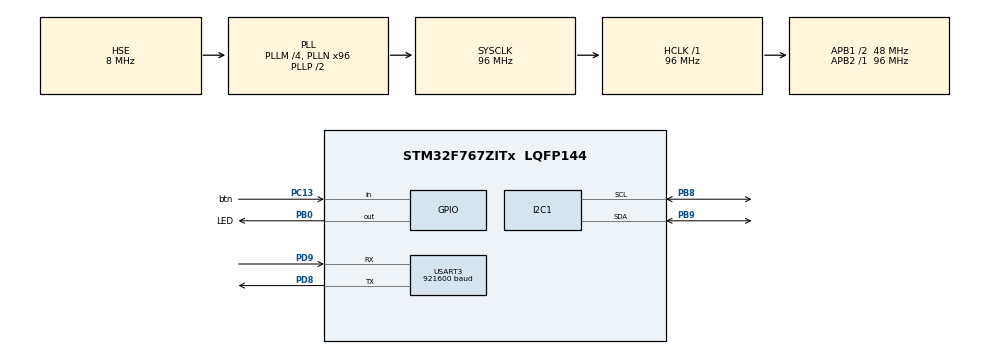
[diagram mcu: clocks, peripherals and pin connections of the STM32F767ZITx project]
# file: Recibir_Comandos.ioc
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I2C1.I2C_Fall_Time=100
I2C1.I2C_Rise_Time=100
I2C1.Timing=0x10805D88
Mcu.Family=STM32F7
Mcu.Name=STM32F767ZITx
Mcu.Package=LQFP144
NVIC.PriorityGroup=NVIC_PRIORITYGROUP_4
NVIC.USART3_IRQn=true\:0\:0\:false\:false\:true\:true\:true\:true
PB0.GPIO_Label=LED
PB0.Signal=GPIO_Output
PB8.Mode=I2C
PB8.Signal=I2C1_SCL
PB9.Mode=I2C
PB9.Signal=I2C1_SDA
PC13.GPIO_Label=btn
PC13.GPIO_PuPd=GPIO_PULLDOWN
PC13.Signal=GPIO_Input
PD8.Mode=Asynchronous
PD8.Signal=USART3_TX
PD9.Mode=Asynchronous
PD9.Signal=USART3_RX
PH0/OSC_IN.Mode=HSE-External-Oscillator
PH0/OSC_IN.Signal=RCC_OSC_IN
PH1/OSC_OUT.Mode=HSE-External-Oscillator
PH1/OSC_OUT.Signal=RCC_OSC_OUT
ProjectManager.HeapSize=0x200
ProjectManager.StackSize=0x400
ProjectManager.TargetToolchain=STM32CubeIDE
RCC.48MHZClocksFreq_Value=24000000
RCC.AHBFreq_Value=96000000
RCC.APB1CLKDivider=RCC_HCLK_DIV2
RCC.APB1Freq_Value=48000000
RCC.APB1TimFreq_Value=96000000
RCC.APB2Freq_Value=96000000
RCC.APB2TimFreq_Value=96000000
RCC.CortexFreq_Value=96000000
RCC.HCLKFreq_Value=96000000
RCC.HSE_VALUE=8000000
RCC.HSI_VALUE=16000000
RCC.LSE_VALUE=32768
RCC.PLLM=4
RCC.PLLMUL=RCC_PLL_MUL9
RCC.PLLN=96
RCC.PLLQ=4
RCC.PLLSourceVirtual=RCC_PLLSOURCE_HSE
RCC.PRESCALERUSB=RCC_USBCLKSOURCE_PLL_DIV1_5
RCC.SYSCLKFreq_VALUE=96000000
RCC.SYSCLKSource=RCC_SYSCLKSOURCE_PLLCLK
RCC.SYSCLKSourceVirtual=RCC_SYSCLKSOURCE_PLLCLK
RCC.USBFreq_Value=48000000
RCC.VCOOutputFreq_Value=192000000
TIM2.Period=5000-1
TIM2.Prescaler=32000-1
USART3.BaudRate=921600
USART3.VirtualMode-Asynchronous=VM_ASYNC
VP_TIM2_VS_ClockSourceINT.Mode=Internal
board=NUCLEO-F767ZI

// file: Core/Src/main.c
/* USER CODE BEGIN Header */

/* USER CODE END Header */
#include "main.h"

/* USER CODE BEGIN Includes */
#include <stdio.h>
#include <string.h>

//Adición de librerías para
// transmisión UART stdio y string

#include <stdlib.h>

// cálculos matemáticos (potencia)
#include <math.h>
// incluir las funciones de printf y scanf
#include "retarget.h"
#include "funciones.h"

	uint8_t tx_int[2]={0};
	uint8_t buf_int[2]={0};
	uint8_t prnt = 0;

/* USER CODE END Includes */

I2C_HandleTypeDef hi2c1;

TIM_HandleTypeDef htim2;

UART_HandleTypeDef huart3;

void SystemClock_Config(void);
static void MX_GPIO_Init(void);
static void MX_USART3_UART_Init(void);
static void MX_TIM2_Init(void);
static void MX_I2C1_Init(void);

/* USER CODE BEGIN 0 */
void Lfsr(void){

				char buf_lfsr[10];
				uint8_t receive[32] = { 0 }; // Arreglo para recibir
				uint8_t seed[32] = { 0 };	//Arreglo semilla
				uint8_t seed_init[32] = { 0 }; //Arreglo semilla inicial
				uint8_t pol[32] = { 0 }; // Almacenar polinomio
				uint8_t aux[32] = { 0 }; // Auxiliar para invertir
				uint8_t xor[32] = { 0 }; // Almacena las xor
				uint8_t buffer_lfsr[16]={0};	//Transmitir
				uint8_t band = 1;		//bandera de ciclo max

				//Mensaje de saludo
				Saludo();

				//Etiqueta para reiniciar

				printf("\n\rNumero de bits termino de realimentacion\n\r");
				scanf("%s", buf_lfsr);
				int numbits = atoi(buf_lfsr);
				printf("\n\rNumero de bits - Decimals: %d\n\r", numbits);

				printf("\n\rIngrese el polinomio de %d bits en binario\n\r", numbits);
				if (!HAL_UART_Receive(&huart3, (uint8_t*) receive, numbits,
						HAL_MAX_DELAY)) {

					for (int i = 0; (i < numbits); i++) {
						pol[i] = (receive[i] - 48);
					}
				}

				///////////

			printf("\n\rIngrese el numero de la semilla de %d bits en binario\n\r",
					numbits);
			if (!HAL_UART_Receive(&huart3, (uint8_t*) receive, numbits, HAL_MAX_DELAY)) {

				//Recibe una semilla del tamaño de bits anteriormente especificado en binario
				for (int i = 0; (i < numbits); i++) {
					seed[i] = (receive[i] - 48);
					seed_init[i] = seed[i];
				}
				band = 1;
				//Convertir de arreglo a byte
				uint64_t usr = 0;
				for (int i = 0; (i < numbits); i++) {
					usr = usr + pow(2, ((numbits - 1) - i)) * seed_init[i];
				}

				uint64_t taps = 0;
				for (int i = 0; (i < numbits); i++) {
					taps = taps + pow(2, (numbits-1)-i) * pol[(numbits-1)-i];
				}

				HAL_UART_Receive_IT(&huart3, tx_int, 1);

				printf("\n\r\n\r***************************************************************");
				printf("\n\r\t*\t RESUMEN INICIAL DE LA SECUENCIA \t*\n\r");
				printf("***************************************************************");
				printf("\n\rNumero de bits termino de realimentacion: %d \n\r",numbits);
				printf("Funcion de realimentacion: BIN ");

				printf("\n\rNumero de bits termino de realimentacion: %d \n\r",numbits);
				printf("Funcion de realimentacion; ");
				itoa(taps, (char*) buffer_lfsr, 2);
				printf("%s", buffer_lfsr);
				printf(" - ");
				itoa(taps, (char*) buffer_lfsr, 16);
				printf("%s", buffer_lfsr);

				printf("\n\rValor inicial - Semilla : ");
				itoa(usr, (char*) buffer_lfsr, 2);
				printf("%s", buffer_lfsr);
				printf(" - ");
				itoa(usr, (char*) buffer_lfsr, 16);
				printf("%s", buffer_lfsr);

				uint64_t a = pow(2,numbits)-1;
				printf("\n\rTotal de numeros esperados en la secuencia: %llu ", a);
				printf("\r\n");

			}

			printf("\n\r");
			//////////////////////////////////////////////////////
			//Invertir el polinomio de acuerdo con los parámetros establecidos
				for (int w = 0; w < numbits; w++) {
					aux[w] = pol[numbits - 1 - w];
				}

				for (int w = 0; w < numbits; w++) {
					pol[w] = aux[w];
				}

			uint64_t k = 0;
			while (k < pow(2, numbits)) {

				for (int i = 0; (i < numbits); i++) {
					if (pol[i] == 1) {
						xor[i] = seed[i];
					} else {
						xor[i] = 0;
					}
				}
				////////////////////////////////////////////////////////

				/////////////////////////////////////////////////////////////////////////////////
				//Determinar cuantos 1's tiene
				uint64_t res = 0;
				for (int i = 0; (i < numbits); i++) {
					res = res + xor[i];
				}
				///////////////////////////////////////////////////////////////////////////////////

				// Función utilizada en DEBUGG
				// HAL_UART_Transmit(&huart3, &res, sizeof(res), HAL_MAX_DELAY);//envia el valor de la suma para determinar valor XOR

				////////DETERMINAMOS SI ES PAR O IMPAR////////////////////////////////

				if (res % 2 == 0) {
					res = 0;
				} else {
					res = 1;
				}
				///////////////////////////////////////////////
				// HAL_UART_Transmit(&huart3, &res, sizeof(res), HAL_MAX_DELAY);

				///mover y poner el valor xor en la cabeza
				for (int i = numbits - 1; i > 0; i--) {
					seed[i] = seed[i - 1];
				}

				seed[0] = res;

				uint64_t usr = 0;
				for (int i = 0; (i < numbits); i++) {
					usr = usr + pow(2, ((numbits - 1) - i)) * seed[i];
				}
				// Línea equivalente al anterior ciclo pero con tamaño de 4 bits
				//int usr = 16 * seed[0] + 8 * seed[1] + 4 * seed[2] + 2 * seed[3] + seed[4];

				if(prnt == 1){
				itoa(usr, (char*) buffer_lfsr, 16);
				printf("\n\r%s", buffer_lfsr);
				}

				if(buf_int[0] == 0x1b){
					printf("\n\r\n\r***************************************************************");
					printf("\n\r\t*\t DETENER LA SECUENCIA POR EL USUARIO\t*\n\r");
					printf("***************************************************************");
					HAL_GPIO_WritePin(LED_GPIO_Port, LED_Pin, GPIO_PIN_RESET);
					goto last;
				}

				if(buf_int[0] != 0x1b){
					HAL_UART_Receive_IT(&huart3, tx_int, 1);
				}

				if (band == 1) {
					band = 2;
				} else {
					band = 0;
					for (int i = 0; i < numbits; i++) {
						if (seed[i] != seed_init[i]) {
							band = 2;
						}
					}
				}

				if (band == 0) {
					if (k == pow(2, numbits) - 2) {
						printf("\n\rMAXIMO\n\r");
					} else {
						printf("\n\rNO MAX\n\r");
					}
					break;
				}
				if (band == 2 && k== pow(2, numbits) - 1) {
					printf("\n\rNO MAX\n\r");
				}
				k++;
			}
			last:
			printf("\n\r\n\r***************************************************************");
			printf("\n\r\t*\t RESUMEN FINAL DE LA SECUENCIA \t*\n\r");
			printf("***************************************************************");
			printf("\n\rNumero de bits termino de realimentacion: %d \n\r",numbits);
			printf("Funcion de realimentacion: BIN ");

			uint64_t usr = 0;
			for (int i = 0; (i < numbits); i++) {
				usr = usr + pow(2, ((numbits - 1) - i)) * seed_init[i];
			}

			uint64_t taps = 0;
			for (int i = 0; (i < numbits); i++) {
				taps = taps + pow(2, (numbits-1)-i) * pol[(numbits-1)-i];
			}
			/*
			for (int i = 0; (i < numbits); i++) {
						usr = usr + pow(2, ((numbits - 1) - i)) * seed_init[i];
					}

			for (int w = 0; w < numbits; w++) {
					aux[w] = pol[numbits - 1 - w];
				}

				for (int w = 0; w < numbits; w++) {
					pol[w] = aux[w];
				}
			 */
			itoa(taps, (char*) buffer_lfsr, 2);
			printf("%s", buffer_lfsr);
			printf(" - HEX ");
			itoa(taps, (char*) buffer_lfsr, 16);
			printf("%s", buffer_lfsr);

			printf("\n\rValor inicial - Semilla : ");
			itoa(usr, (char*) buffer_lfsr, 2);
			printf("%s", buffer_lfsr);
			printf(" - ");
			itoa(usr, (char*) buffer_lfsr, 16);
			printf("%s", buffer_lfsr);

			printf("\n\rNumero de valores calculados en la secuencia: %llu ", k+1);
			if (band == 0) {
				if (k == pow(2, numbits) - 2) {
					HAL_GPIO_WritePin(LED_GPIO_Port, LED_Pin, GPIO_PIN_SET);
					printf("\n\rMAXIMO\n\r");
				} else {
					HAL_GPIO_WritePin(LED_GPIO_Port, LED_Pin, GPIO_PIN_RESET);
					printf("\n\rNO MAX\n\r");
				}
			}
			if (band == 2 && k== pow(2, numbits) - 1) {
				HAL_GPIO_WritePin(LED_GPIO_Port, LED_Pin, GPIO_PIN_RESET);
				printf("\n\rNO MAX\n\r");
			}
			printf("\n\r***************************************************************\n\r");

			}

void Temp(void){
	uint8_t bufe_tmp[] = "error\r\n";

	   uint8_t buff_rx_tmp[2] = {0};
	   uint8_t buff_tx_tmp[2] = {0};
	   static const uint8_t ADDR_W = 0x90;
	   static const uint8_t POINTER_Temp = 0x00;
	   uint16_t val = 0;
	   uint16_t a1 = 0;
	   uint16_t a0 = 0;
	   float temp;
	   HAL_StatusTypeDef ret;

	   buff_tx_tmp[0]= POINTER_Temp;

		uint8_t buff_temp[4]={0};	//Transmitir

		ret = HAL_I2C_Master_Transmit(&hi2c1, ADDR_W, buff_tx_tmp, 1, HAL_MAX_DELAY);

					  if (ret == HAL_OK){

						  ret = HAL_I2C_Master_Receive(&hi2c1, ADDR_W, buff_rx_tmp, 2, HAL_MAX_DELAY);

						  if(ret == HAL_OK){

							  a1 = buff_rx_tmp[1];
							  a1 = (a1 >> 5);

							  a0 = buff_rx_tmp[0];
							  a0 = (a0 << 3);

							  val = (a0 | a1);

							  temp = val*0.125;

							  itoa(val, (char*) buff_temp, 10);

							  printf("%.6f\r\n", temp);
							  HAL_Delay(500);
						  }
					  }

					  if (ret != HAL_OK){
						  HAL_UART_Transmit(&huart3, bufe_tmp, sizeof(bufe_tmp), HAL_MAX_DELAY);
						  HAL_Delay(300);
					  }

}

/* USER CODE END 0 */

int main(void)
{

  /* MCU Configuration--------------------------------------------------------*/

  /* Reset of all peripherals, Initializes the Flash interface and the Systick. */
  HAL_Init();

  /* Configure the system clock */
  SystemClock_Config();

  /* Initialize all configured peripherals */
  MX_GPIO_Init();
  MX_USART3_UART_Init();
  MX_TIM2_Init();
  MX_I2C1_Init();
  /* USER CODE BEGIN 2 */

	RetargetInit(&huart3);

  /* USER CODE END 2 */

  /* Infinite loop */
  /* USER CODE BEGIN WHILE */

	uint8_t rx[2]={0};
	uint8_t buffin[100]={0};

	char saludo[] = "jhan";
	char help[] = "help";
	char temp[] = "temp";
	char ledc[] = "ledc";
	char lfsr[] = "lfsr";
	char time[] = "time";
	char rege[] = "rege";
	char prin[] = "prin";

	uint8_t i = 0;

	while (1)
	{

//////////////////////////RECIBIMOS EL TECLADO/////////////////////////
				while(rx[0] != 0x0A){
					  HAL_UART_Receive(&huart3, rx, 1, HAL_MAX_DELAY);
					  buffin[i]=rx[0];
					  i++;
				  }
//////////////////////////TRANSMITIMOS LO QUE RECIBIMOS DEL TECLADO, SOLO PARA PROBAR, LUEGO SE QUITA//////
				  HAL_UART_Transmit(&huart3, buffin, i, HAL_MAX_DELAY);
				  i=0;
				  rx[0]=0;
//////////////////////DETERMINAMOS QUÉ COMANDO RECIBIMOS////////////////
				  /////FALTA PONER LA PARTE DE PROCESAR EL PAR�?METRO
				  ///// ES SOLO PARA TENER LISTA LA PARTE DE TERMINAR COMANDOS
				  if(!memcmp(buffin,saludo,strlen(saludo))){

					  printf("es saludo\n\r");
					  printf(" %d\n",strlen(saludo));
					  printf(" %d\n",strlen((char*)buffin));

					  for(int w = 0; w<sizeof(buffin); w++){
					 				  		  			  buffin[w]=0;}
				  }

				  else if(!memcmp(buffin,help,strlen(help))){
					  printf("es help\n\r");
					  printf(" %d\n",strlen(help));
					  printf(" %d\n",strlen((char*)buffin));

					  if((buffin[5]==0)&&(buffin[6]==0)){
						  Help();
					  }

					  if((buffin[5]=='t')&&(buffin[6]==0x65)&&(buffin[7]==0x6d)&&(buffin[8]==0x70)){
						  H_Temp();
					  }

					  if((buffin[5]=='l')&&(buffin[6]=='e')&&(buffin[7]=='d')&&(buffin[8]=='c')){
						  H_Ledc();
					  }

					  if((buffin[5]=='l')&&(buffin[6]=='f')&&(buffin[7]=='s')&&(buffin[8]=='r')){
						  H_Lfsr();
					  }

					  if((buffin[5]==0x74)&&(buffin[6]==0x69)&&(buffin[7]==0x6d)&&(buffin[8]==0x65)){
						  H_Time();
					  }

					  if((buffin[5]==0x72)&&(buffin[6]==0x65)&&(buffin[7]==0x67)&&(buffin[8]==0x65)){
						  H_Rege();
					  }

					  if((buffin[5]==0x70)&&(buffin[6]==0x72)&&(buffin[7]==0x69)&&(buffin[8]==0x6e)){
						  H_Prin();
					  }

					  for(int w = 0; w<sizeof(buffin); w++){
					  					 			buffin[w]=0;}

				  }

				  else if(!memcmp(buffin,temp,strlen(temp))){
					  printf("es temp\n\r");
					  printf(" %d\n",strlen(temp));
					  printf(" %d\n",strlen((char*)buffin));

					  //PONER LA FUNCION PARA LEER TEMPERATURA, YA QUE AC�? NO SE RECIBE PAR�?METRO//
					  Temp();

					  for(int w = 0; w<sizeof(buffin); w++){
													buffin[w]=0;

					  }

				  }

				  else if(!memcmp(buffin,ledc,strlen(ledc))){
					  printf("es led\n\r");
					  printf(" %d\n",strlen(ledc));
					  printf(" %d\n",strlen((char*)buffin));

					  //PONER LA FUNCIÓN PARA CONFIGURAR LA FRECUANCIA DEL LED//

					  if((buffin[5]== 'o') && (buffin[6]== 'n')){
						  HAL_GPIO_WritePin(GPIOB, LED_Pin, GPIO_PIN_SET);
					  }

					  if((buffin[5] == 'o') && (buffin[6]=='f')){
						  HAL_GPIO_WritePin(GPIOB, LED_Pin, GPIO_PIN_RESET);
					  }

					  for(int w = 0; w<sizeof(buffin); w++){
												buffin[w]=0;}

				  }

				  else if(!memcmp(buffin,lfsr,strlen(lfsr))){
					  printf("es lfsr\n\r");
					  printf(" %d\n",strlen(lfsr));
					  printf(" %d\n",strlen((char*)buffin));

					  if(buffin[5]=='x'){
						  buf_int[0] = 0;

						  Lfsr();

					  }

					  if(buffin[5]=='p'){
						  printf("es lfsr con pagina\n\r");
					  }

					  for(int w = 0; w<sizeof(buffin); w++){
					  							buffin[w]=0;}

				  }

				  else if(!memcmp(buffin,time,strlen(time))){
					  	  uint64_t r =0;
					  	  r = pow(2,32);
				 		printf("es time\n\r");
				 		printf(" %d\n",strlen(time));
				 		printf(" %d\n",strlen((char*)buffin));
				 		printf(" %llu",r);

				 		for(int w = 0; w<sizeof(buffin); w++){
				 					  			buffin[w]=0;}

				  }

				  else if(!memcmp(buffin,rege,strlen(rege))){
				  	printf("es rege\n\r");
				  	printf(" %d\n",strlen(rege));
				  	printf(" %d\n",strlen((char*)buffin));

				  	for(int w = 0; w<sizeof(buffin); w++){
				  				 			buffin[w]=0;}

				  }

				  else if(!memcmp(buffin,prin,strlen(prin))){
				  	printf("es prin\n\r");
				  	printf(" %d\n",strlen(prin));
				  	printf(" %d\n",strlen((char*)buffin));

				  	if(buffin[5]=='e'){
				  	prnt = 1;
				  	printf("Mostrar secuencia Habilitado\n\r");
				  	}

				  	if(buffin[5]=='d'){
					prnt = 0;
					printf("Mostrar secuencia Deshabilitado\n\r");
					}

				  	for(int w = 0; w<sizeof(buffin); w++){
				  				 			buffin[w]=0;}

				  }

				  else{
					  printf("ningun comando\n\r");
					  for(int w = 0; w<sizeof(buffin); w++){
					 				  		  			  buffin[w]=0;}
				  }

	}

    /* USER CODE END WHILE */

}

void SystemClock_Config(void)
{
  RCC_OscInitTypeDef RCC_OscInitStruct = {0};
  RCC_ClkInitTypeDef RCC_ClkInitStruct = {0};

  /** Configure the main internal regulator output voltage
  */
  __HAL_RCC_PWR_CLK_ENABLE();
  __HAL_PWR_VOLTAGESCALING_CONFIG(PWR_REGULATOR_VOLTAGE_SCALE3);

  /** Initializes the RCC Oscillators according to the specified parameters
  * in the RCC_OscInitTypeDef structure.
  */
  RCC_OscInitStruct.OscillatorType = RCC_OSCILLATORTYPE_HSE;
  RCC_OscInitStruct.HSEState = RCC_HSE_ON;
  RCC_OscInitStruct.PLL.PLLState = RCC_PLL_ON;
  RCC_OscInitStruct.PLL.PLLSource = RCC_PLLSOURCE_HSE;
  RCC_OscInitStruct.PLL.PLLM = 4;
  RCC_OscInitStruct.PLL.PLLN = 96;
  RCC_OscInitStruct.PLL.PLLP = RCC_PLLP_DIV2;
  RCC_OscInitStruct.PLL.PLLQ = 4;
  RCC_OscInitStruct.PLL.PLLR = 2;
  if (HAL_RCC_OscConfig(&RCC_OscInitStruct) != HAL_OK)
  {
    Error_Handler();
  }

  /** Activate the Over-Drive mode
  */
  if (HAL_PWREx_EnableOverDrive() != HAL_OK)
  {
    Error_Handler();
  }

  /** Initializes the CPU, AHB and APB buses clocks
  */
  RCC_ClkInitStruct.ClockType = RCC_CLOCKTYPE_HCLK|RCC_CLOCKTYPE_SYSCLK
                              |RCC_CLOCKTYPE_PCLK1|RCC_CLOCKTYPE_PCLK2;
  RCC_ClkInitStruct.SYSCLKSource = RCC_SYSCLKSOURCE_PLLCLK;
  RCC_ClkInitStruct.AHBCLKDivider = RCC_SYSCLK_DIV1;
  RCC_ClkInitStruct.APB1CLKDivider = RCC_HCLK_DIV2;
  RCC_ClkInitStruct.APB2CLKDivider = RCC_HCLK_DIV1;

  if (HAL_RCC_ClockConfig(&RCC_ClkInitStruct, FLASH_LATENCY_3) != HAL_OK)
  {
    Error_Handler();
  }
}

static void MX_I2C1_Init(void)
{

  hi2c1.Instance = I2C1;
  hi2c1.Init.Timing = 0x10805D88;
  hi2c1.Init.OwnAddress1 = 0;
  hi2c1.Init.AddressingMode = I2C_ADDRESSINGMODE_7BIT;
  hi2c1.Init.DualAddressMode = I2C_DUALADDRESS_DISABLE;
  hi2c1.Init.OwnAddress2 = 0;
  hi2c1.Init.OwnAddress2Masks = I2C_OA2_NOMASK;
  hi2c1.Init.GeneralCallMode = I2C_GENERALCALL_DISABLE;
  hi2c1.Init.NoStretchMode = I2C_NOSTRETCH_DISABLE;
  if (HAL_I2C_Init(&hi2c1) != HAL_OK)
  {
    Error_Handler();
  }

  /** Configure Analogue filter
  */
  if (HAL_I2CEx_ConfigAnalogFilter(&hi2c1, I2C_ANALOGFILTER_ENABLE) != HAL_OK)
  {
    Error_Handler();
  }

  /** Configure Digital filter
  */
  if (HAL_I2CEx_ConfigDigitalFilter(&hi2c1, 0) != HAL_OK)
  {
    Error_Handler();
  }

}

static void MX_TIM2_Init(void)
{

  TIM_ClockConfigTypeDef sClockSourceConfig = {0};
  TIM_MasterConfigTypeDef sMasterConfig = {0};

  htim2.Instance = TIM2;
  htim2.Init.Prescaler = 32000-1;
  htim2.Init.CounterMode = TIM_COUNTERMODE_UP;
  htim2.Init.Period = 5000-1;
  htim2.Init.ClockDivision = TIM_CLOCKDIVISION_DIV1;
  htim2.Init.AutoReloadPreload = TIM_AUTORELOAD_PRELOAD_DISABLE;
  if (HAL_TIM_Base_Init(&htim2) != HAL_OK)
  {
    Error_Handler();
  }
  sClockSourceConfig.ClockSource = TIM_CLOCKSOURCE_INTERNAL;
  if (HAL_TIM_ConfigClockSource(&htim2, &sClockSourceConfig) != HAL_OK)
  {
    Error_Handler();
  }
  sMasterConfig.MasterOutputTrigger = TIM_TRGO_RESET;
  sMasterConfig.MasterSlaveMode = TIM_MASTERSLAVEMODE_DISABLE;
  if (HAL_TIMEx_MasterConfigSynchronization(&htim2, &sMasterConfig) != HAL_OK)
  {
    Error_Handler();
  }

}

static void MX_USART3_UART_Init(void)
{

  huart3.Instance = USART3;
  huart3.Init.BaudRate = 921600;
  huart3.Init.WordLength = UART_WORDLENGTH_8B;
  huart3.Init.StopBits = UART_STOPBITS_1;
  huart3.Init.Parity = UART_PARITY_NONE;
  huart3.Init.Mode = UART_MODE_TX_RX;
  huart3.Init.HwFlowCtl = UART_HWCONTROL_NONE;
  huart3.Init.OverSampling = UART_OVERSAMPLING_16;
  huart3.Init.OneBitSampling = UART_ONE_BIT_SAMPLE_DISABLE;
  huart3.AdvancedInit.AdvFeatureInit = UART_ADVFEATURE_NO_INIT;
  if (HAL_UART_Init(&huart3) != HAL_OK)
  {
    Error_Handler();
  }

}

static void MX_GPIO_Init(void)
{
  GPIO_InitTypeDef GPIO_InitStruct = {0};

  /* GPIO Ports Clock Enable */
  __HAL_RCC_GPIOC_CLK_ENABLE();
  __HAL_RCC_GPIOH_CLK_ENABLE();
  __HAL_RCC_GPIOB_CLK_ENABLE();
  __HAL_RCC_GPIOD_CLK_ENABLE();

  /*Configure GPIO pin Output Level */
  HAL_GPIO_WritePin(LED_GPIO_Port, LED_Pin, GPIO_PIN_RESET);

  /*Configure GPIO pin : btn_Pin */
  GPIO_InitStruct.Pin = btn_Pin;
  GPIO_InitStruct.Mode = GPIO_MODE_INPUT;
  GPIO_InitStruct.Pull = GPIO_PULLDOWN;
  HAL_GPIO_Init(btn_GPIO_Port, &GPIO_InitStruct);

  /*Configure GPIO pin : LED_Pin */
  GPIO_InitStruct.Pin = LED_Pin;
  GPIO_InitStruct.Mode = GPIO_MODE_OUTPUT_PP;
  GPIO_InitStruct.Pull = GPIO_NOPULL;
  GPIO_InitStruct.Speed = GPIO_SPEED_FREQ_LOW;
  HAL_GPIO_Init(LED_GPIO_Port, &GPIO_InitStruct);

}

/* USER CODE BEGIN 4 */
void HAL_UART_RxCpltCallback(UART_HandleTypeDef *huart)
{
    buf_int[0]=tx_int[0];

}
/* USER CODE END 4 */

void Error_Handler(void)
{
	__disable_irq();
	while (1) {
	}
}
